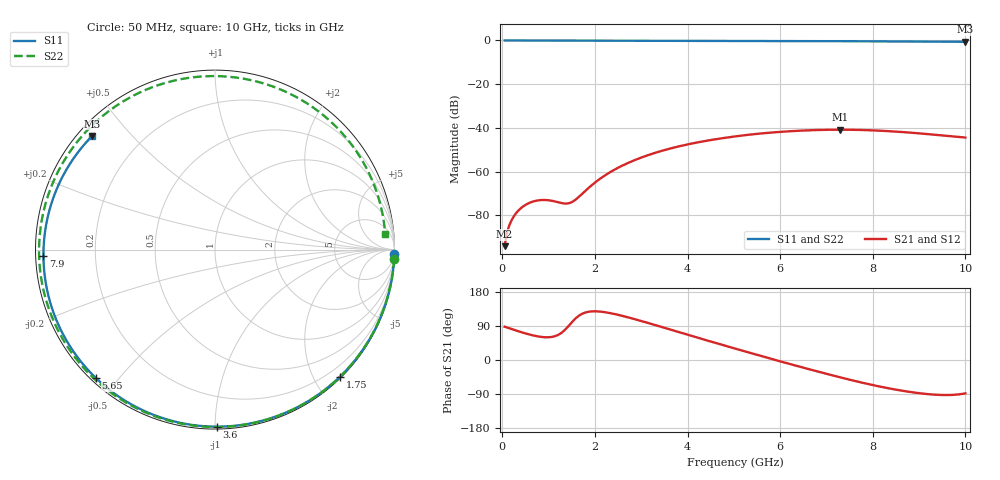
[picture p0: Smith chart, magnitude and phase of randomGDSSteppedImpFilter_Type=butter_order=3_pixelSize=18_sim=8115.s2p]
! freq	dB(S11)	phase(S11)	dB(S12)	phase(S12)
!  dB(S21)	phase(S21)	dB(S22)	phase(S22)
!S-par simulation data
#  GHz  S  DB  R 50
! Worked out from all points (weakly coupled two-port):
!   200 points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, 50 MHz to 10 GHz, reference 50 ohm
!   highest |S21| = -40.84 dB at 7.3 GHz (marker M1); lowest = -94.1 dB at 50 MHz (marker M2)
!   lowest |S11| = -0.6 dB at 10 GHz (marker M3), VSWR 28.53, Z = 2.02 + j19.6 ohm
!   |S11| at or under -10 dB: nowhere
!   |S22| runs from -0.4 to 0.0 dB; largest |S21 - S12| = 0
!   S11 on the Smith chart (normalised r, x): 50 MHz: 0, -85; 1.75 GHz: 0.02, -2.38; 3.6 GHz: 0.01, -1.01; 5.65 GHz: 0.01, -0.44; 7.9 GHz: 0.02, -0.02; 10 GHz: 0.04, +0.39
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0.05  -0.00 -1.3  -94.15 87.9  -94.15 87.9  -0.00 -2.9
0.25  -0.01 -6.7  -80.43 79.7  -80.43 79.7  -0.02 -14.6
0.45  -0.01 -12.0  -75.96 72.0  -75.96 72.0  -0.04 -26.0
0.7  -0.02 -18.5  -73.51 63.9  -73.51 63.9  -0.05 -40.1
0.95  -0.03 -25.1  -73.04 59.9  -73.04 59.9  -0.07 -53.6
1.45  -0.05 -38.0  -74.42 92.4  -74.42 92.4  -0.09 -78.8
1.75  -0.06 -45.6  -69.70 123.4  -69.70 123.4  -0.10 -92.6
2.1  -0.07 -54.3  -63.46 127.9  -63.46 127.9  -0.11 -107.6
2.45  -0.08 -62.8  -58.82 120.6  -58.82 120.6  -0.12 -121.5
2.9  -0.09 -73.5  -54.41 106.4  -54.41 106.4  -0.13 -137.9
3.4  -0.11 -85.0  -50.79 88.7  -50.79 88.7  -0.15 -154.7
3.6  -0.12 -89.5  -49.61 81.4  -49.61 81.4  -0.15 -161.1
4.3  -0.14 -104.8  -46.32 55.9  -46.32 55.9  -0.18 177.7
5.05  -0.18 -120.6  -43.85 29.4  -43.85 29.4  -0.20 156.0
5.65  -0.21 -132.8  -42.44 8.4  -42.44 8.4  -0.23 139.0
6.2  -0.25 -143.8  -41.56 -10.3  -41.56 -10.3  -0.25 123.3
6.7  -0.28 -153.8  -41.05 -26.8  -41.05 -26.8  -0.27 108.8
7.3  -0.33 -165.7  -40.84 -45.9  -40.84 -45.9  -0.29 91.0
7.9  -0.39 -177.8  -41.07 -63.4  -41.07 -63.4  -0.31 72.7
8.35  -0.43 173.0  -41.52 -74.9  -41.52 -74.9  -0.33 58.6
9.25  -0.53 154.0  -42.98 -90.7  -42.98 -90.7  -0.37 29.6
10  -0.61 137.2  -44.44 -88.0  -44.44 -88.0  -0.43 5.1
